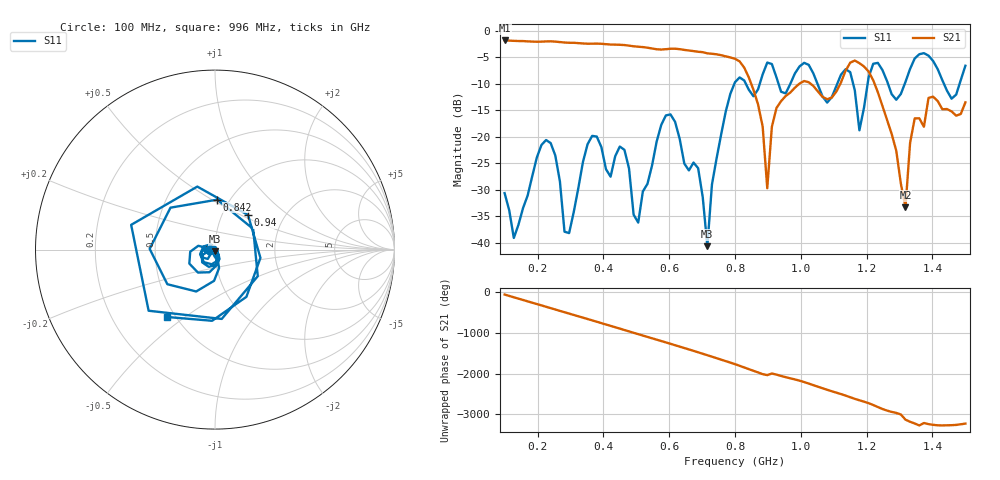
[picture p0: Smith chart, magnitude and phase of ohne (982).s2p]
! NanoVNA-App
! Date: 2025-09-25 14:28:26
! Start: 100MHz Stop: 1,5GHz Points: 101
! S-Parameter data: F S11 S21 S12 S22
# Hz S RI R 50
!  Frequency  S11_Real  S11_Imag  S21_Real  S21_Imag  S12_Real  S12_Imag  S22_Real  S22_Imag
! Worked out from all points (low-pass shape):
!   101 points, 100 MHz to 1.5 GHz, reference 50 ohm
!   highest |S21| = -1.79 dB at 100 MHz (marker M1); lowest = -33.3 dB at 1.318 GHz (marker M2)
!   |S21| within 3 dB of the highest: start of sweep to 772 MHz
!   lowest |S11| = -40.6 dB at 716 MHz (marker M3), VSWR 1.02, Z = 49.9 - j0.915 ohm
!   |S11| at or under -10 dB: start of sweep to 797.9 MHz; 833.2 MHz to 875.2 MHz (41.97 MHz wide, 4.91 % of centre); 1.051 GHz to 1.111 GHz (59.85 MHz wide, 5.54 % of centre) (the widest 3 of 7)
!   S12 and S22 are empty: the file has one direction only
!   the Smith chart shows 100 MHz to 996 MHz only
!   S11 on the Smith chart (normalised r, x): 100 MHz: 0.94, -0.01; 842 MHz: 0.88, +0.53; 940 MHz: 1.32, +0.55; 996 MHz: 0.45, -0.43
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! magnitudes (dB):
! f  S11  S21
! 100 MHz  -30.6  -1.8
! 128 MHz  -39.1  -1.9
! 226 MHz  -20.6  -2.0
! 296 MHz  -38.2  -2.2
! 338 MHz  -24.8  -2.4
! 464 MHz  -22.5  -2.7
! 506 MHz  -36.2  -3.0
! 576 MHz  -17.7  -3.5
! 688 MHz  -25.9  -3.9
! 716 MHz  -40.6  -4.2
! 800 MHz  -9.7  -5.3
! 842 MHz  -11.1  -8.8
! 898 MHz  -6.0  -29.7
! 940 MHz  -11.5  -13.3
! 996 MHz  -6.7  -9.9
! 1.038 GHz  -8.0  -10.4
! 1.178 GHz  -18.8  -6.1
! 1.22 GHz  -6.2  -9.3
! 1.276 GHz  -11.9  -19.4
! 1.318 GHz  -9.6  -33.3
! 1.346 GHz  -5.2  -16.5
! 1.5 GHz  -6.6  -13.5
